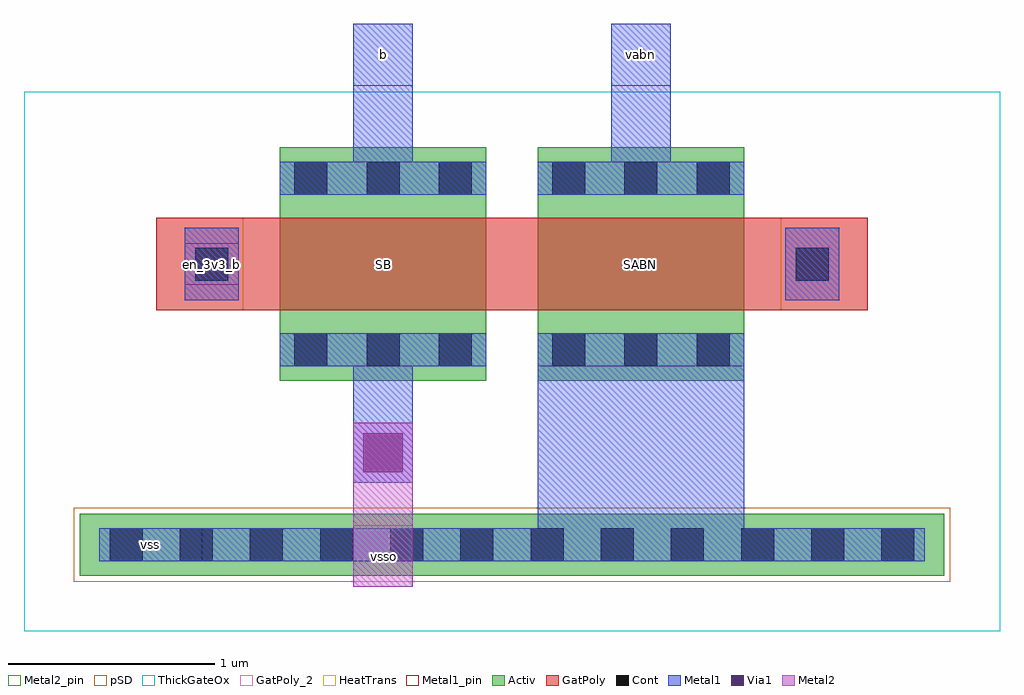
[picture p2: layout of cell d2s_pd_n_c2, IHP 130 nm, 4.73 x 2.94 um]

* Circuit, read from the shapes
.subckt d2s_pd_n_c2 b en_3v3_b vabn vss vsso
XM1 b en_3v3_b vsso vss sg13_hv_nmos w=1u l=0.45u
XM2 vabn en_3v3_b vss vss sg13_hv_nmos w=1u l=0.45u
.ends

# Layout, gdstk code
from math import pi, radians
import gdstk
lib = gdstk.Library(unit=1e-6, precision=1e-09)
def R(c, l, rs):  # rectangles x0, y0, x1, y1
    for r in rs: c.add(gdstk.rectangle(r[:2], r[2:], *l))
def A(c, l, x, y, w, h, nx, ny, dx, dy):  # array of equal rectangles
    R(c, l, [(x+i*dx, y+j*dy, x+i*dx+w, y+j*dy+h) for i in range(nx) for j in range(ny)])
Activ = (1, 0)
GatPoly = (5, 0)
GatPoly_2 = (5, 2)
Cont = (6, 0)
Metal1 = (8, 0)
Metal1_pin = (8, 2)
Metal2 = (10, 0)
Metal2_pin = (10, 2)
pSD = (14, 0)
Via1 = (19, 0)
ThickGateOx = (44, 0)
HeatTrans = (51, 0)

nmoshv_7 = lib.new_cell('nmosHV$7')
R(nmoshv_7, Activ, [(0,0,0.3,0.3), (0,0,1.13,1), (0.83,0,1.13,0.3)])
R(nmoshv_7, GatPoly, [(0.34,-0.18,0.79,1.18)])
R(nmoshv_7, GatPoly_2, [(0.34,-0.18,0.79,1.18)])
A(nmoshv_7, Cont, 0.07, 0.07, 0.16, 0.16, 1, 3, 0, 0.35)
A(nmoshv_7, Cont, 0.9, 0.07, 0.16, 0.16, 1, 3, 0, 0.35)
R(nmoshv_7, Metal1, [(0.07,0,0.23,1), (0.9,0,1.06,1)])
R(nmoshv_7, Metal1_pin, [(0.07,0,0.23,1), (0.9,0,1.06,1)])
R(nmoshv_7, ThickGateOx, [(-0.27,-0.52,1.4,1.52)])
R(nmoshv_7, HeatTrans, [(0.34,-0.18,0.79,1.18)])
nmoshv_7.add(gdstk.Label('nmosHV', (0.565,0.5), layer=63, texttype=0))
nmoshv_7.add(gdstk.Label('nmosHV', (0.565,0.5), layer=51, texttype=0))

d2s_pd_n_c2 = lib.new_cell('d2s_pd_n_c2')
R(d2s_pd_n_c2, Activ, [(-0.97,-0.945,3.22,-0.645)])
R(d2s_pd_n_c2, GatPoly, [(-0.6,0.34,-0.1,0.79), (2.35,0.34,2.85,0.79)])
A(d2s_pd_n_c2, Cont, -0.825, -0.875, 0.16, 0.16, 12, 1, 0.34, 0)
R(d2s_pd_n_c2, Cont, [(-0.41,0.485,-0.25,0.645), (2.5,0.485,2.66,0.645)])
R(d2s_pd_n_c2, Metal1, [(-0.875,-0.875,3.125,-0.715), (1.25,-0.875,2.25,0.23), (0.355,-0.495,0.645,0.23), (-0.46,0.39,-0.2,0.74), (2.45,0.39,2.71,0.74), (0.355,0.9,0.645,1.73), (1.605,0.9,1.895,1.73)])
R(d2s_pd_n_c2, Metal1_pin, [(-0.875,-0.875,-0.375,-0.715), (-0.46,0.465,-0.2,0.665), (0.355,1.43,0.645,1.73), (1.605,1.43,1.895,1.73)])
R(d2s_pd_n_c2, Metal2, [(0.355,-1,0.645,-0.205)])
R(d2s_pd_n_c2, Metal2_pin, [(0.355,-1,0.645,-0.7)])
R(d2s_pd_n_c2, pSD, [(-1,-0.975,3.25,-0.615)])
R(d2s_pd_n_c2, Via1, [(0.405,-0.445,0.595,-0.255)])
R(d2s_pd_n_c2, ThickGateOx, [(-1.24,-1.215,3.49,1.4)])
d2s_pd_n_c2.add(gdstk.Reference(nmoshv_7, (0,1.13), rotation=3*pi/2))
d2s_pd_n_c2.add(gdstk.Reference(nmoshv_7, (2.25,1.13), rotation=3*pi/2, x_reflection=True))
d2s_pd_n_c2.add(gdstk.Label('b', (0.5,1.58), layer=8, texttype=25))
d2s_pd_n_c2.add(gdstk.Label('vabn', (1.75,1.58), layer=8, texttype=25))
d2s_pd_n_c2.add(gdstk.Label('vss', (-0.625,-0.795), layer=8, texttype=25))
d2s_pd_n_c2.add(gdstk.Label('en_3v3_b', (-0.33,0.565), layer=8, texttype=25))
d2s_pd_n_c2.add(gdstk.Label('vsso', (0.5,-0.85), layer=10, texttype=25))
d2s_pd_n_c2.add(gdstk.Label('SB', (0.5,0.565), layer=63, texttype=0))
d2s_pd_n_c2.add(gdstk.Label('SABN', (1.75,0.565), layer=63, texttype=0))

lib.write_gds('d2s_pd_n_c2.gds')
